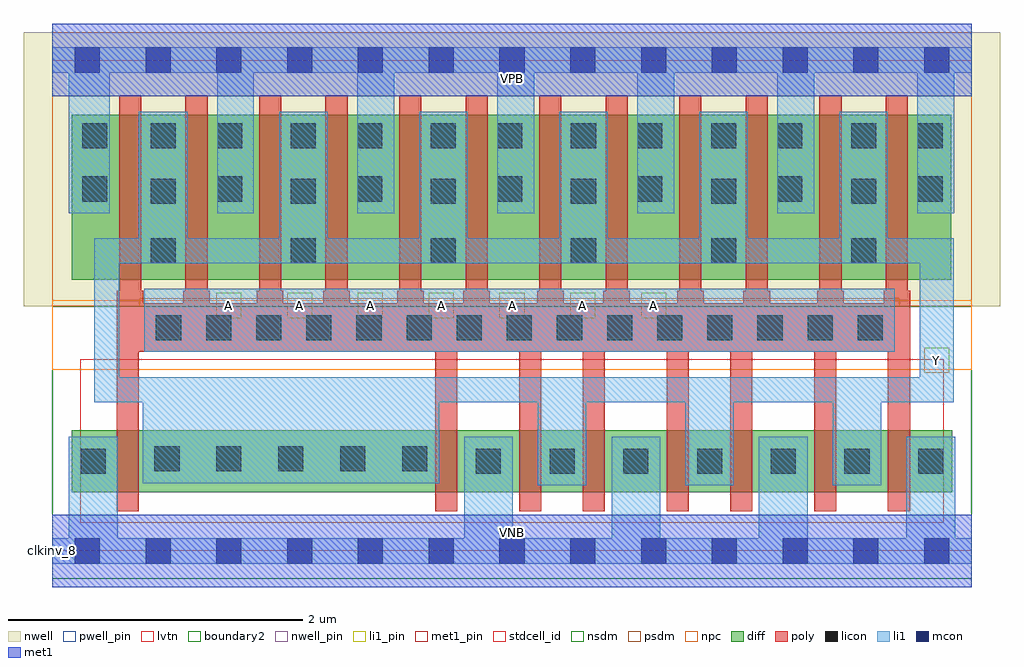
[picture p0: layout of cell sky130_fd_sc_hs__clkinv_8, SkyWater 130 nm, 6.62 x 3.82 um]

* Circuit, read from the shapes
.subckt sky130_fd_sc_hs__clkinv_8 A VGND VNB VPB VPWR Y
XM1 Y A VGND VNB sky130_fd_pr__nfet_01v8_lvt w=0.42 l=0.15 m=8
XM2 Y A VPWR VPB sky130_fd_pr__pfet_01v8 w=1.12 l=0.15 m=12
.ends

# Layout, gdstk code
import gdstk
lib = gdstk.Library(unit=1e-6, precision=1e-09)
def R(c, l, rs):  # rectangles x0, y0, x1, y1
    for r in rs: c.add(gdstk.rectangle(r[:2], r[2:], *l))
def A(c, l, x, y, w, h, nx, ny, dx, dy):  # array of equal rectangles
    R(c, l, [(x+i*dx, y+j*dy, x+i*dx+w, y+j*dy+h) for i in range(nx) for j in range(ny)])
def P(c, l, *ps):  # polygons
    for p in ps: c.add(gdstk.Polygon(p, *l))
nwell_pin = (64, 16)
nwell = (64, 20)
diff = (65, 20)
poly = (66, 20)
licon = (66, 44)
li1_pin = (67, 16)
li1 = (67, 20)
mcon = (67, 44)
met1_pin = (68, 16)
met1 = (68, 20)
stdcell_id = (81, 4)
nsdm = (93, 44)
psdm = (94, 20)
npc = (95, 20)
pwell_pin = (122, 16)
lvtn = (125, 44)
boundary2 = (236, 0)

sky130_fd_sc_hs__clkinv_ = lib.new_cell('sky130_fd_sc_hs__clkinv_8')
R(sky130_fd_sc_hs__clkinv_, nwell_pin, [(0,3.085,6.24,3.33)])
R(sky130_fd_sc_hs__clkinv_, nwell, [(-0.19,1.66,6.43,3.52)])
R(sky130_fd_sc_hs__clkinv_, diff, [(0.135,0.4,6.105,0.82), (0.135,1.84,6.1,2.96)])
P(sky130_fd_sc_hs__clkinv_, poly, [(5.82,1.765),(5.805,1.765),(5.805,3.09),(5.655,3.09),(5.655,1.765),(5.64,1.765),(5.64,1.68),(5.37,1.68),(5.37,1.765),(5.355,1.765),(5.355,3.09),(5.205,3.09),(5.205,1.765),(5.19,1.765),(5.19,1.68),(4.87,1.68),(4.87,1.765),(4.855,1.765),(4.855,3.09),(4.705,3.09),(4.705,1.765),(4.69,1.765),(4.69,1.68),(4.42,1.68),(4.42,1.765),(4.405,1.765),(4.405,3.09),(4.255,3.09),(4.255,1.765),(4.24,1.765),(4.24,1.68),(3.92,1.68),(3.92,1.765),(3.905,1.765),(3.905,3.09),(3.755,3.09),(3.755,1.765),(3.74,1.765),(3.74,1.68),(3.47,1.68),(3.47,1.765),(3.455,1.765),(3.455,3.09),(3.305,3.09),(3.305,1.765),(3.29,1.765),(3.29,1.68),(2.97,1.68),(2.97,1.765),(2.955,1.765),(2.955,3.09),(2.805,3.09),(2.805,1.765),(2.79,1.765),(2.79,1.68),(2.52,1.68),(2.52,1.765),(2.505,1.765),(2.505,3.09),(2.355,3.09),(2.355,1.765),(2.34,1.765),(2.34,1.68),(2.02,1.68),(2.02,1.765),(2.005,1.765),(2.005,3.09),(1.855,3.09),(1.855,1.765),(1.84,1.765),(1.84,1.68),(1.57,1.68),(1.57,1.765),(1.555,1.765),(1.555,3.09),(1.405,3.09),(1.405,1.765),(1.39,1.765),(1.39,1.68),(1.07,1.68),(1.07,1.765),(1.055,1.765),(1.055,3.09),(0.905,3.09),(0.905,1.765),(0.89,1.765),(0.89,1.68),(0.62,1.68),(0.62,1.765),(0.605,1.765),(0.605,3.09),(0.455,3.09),(0.455,1.765),(0.44,1.765),(0.44,0.27),(0.59,0.27),(0.59,1.35),(2.6,1.35),(2.6,0.27),(2.75,0.27),(2.75,1.35),(3.17,1.35),(3.17,0.27),(3.32,0.27),(3.32,1.35),(3.6,1.35),(3.6,0.27),(3.75,0.27),(3.75,1.35),(4.17,1.35),(4.17,0.27),(4.32,0.27),(4.32,1.35),(4.6,1.35),(4.6,0.27),(4.75,0.27),(4.75,1.35),(5.17,1.35),(5.17,0.27),(5.32,0.27),(5.32,1.35),(5.67,1.35),(5.67,0.27),(5.82,0.27)])
A(sky130_fd_sc_hs__clkinv_, licon, 2.875, 0.525, 0.17, 0.17, 7, 1, 0.5, 0)
A(sky130_fd_sc_hs__clkinv_, licon, 0.695, 0.54, 0.17, 0.17, 5, 1, 0.42, 0)
A(sky130_fd_sc_hs__clkinv_, licon, 0.705, 1.43, 0.17, 0.17, 15, 1, 0.34, 0)
A(sky130_fd_sc_hs__clkinv_, licon, 0.67, 1.95, 0.17, 0.17, 6, 2, 0.95, 0.405)
A(sky130_fd_sc_hs__clkinv_, licon, 1.12, 2.37, 0.17, 0.17, 6, 1, 0.95, 0)
R(sky130_fd_sc_hs__clkinv_, licon, [(0.195,0.525,0.365,0.695), (0.205,2.37,0.375,2.54), (0.205,2.73,0.375,2.9), (0.67,2.73,0.84,2.9), (1.12,2.73,1.29,2.9), (1.62,2.73,1.79,2.9), (2.07,2.73,2.24,2.9), (2.57,2.73,2.74,2.9), (3.02,2.73,3.19,2.9), (3.52,2.73,3.69,2.9), (3.97,2.73,4.14,2.9), (4.47,2.73,4.64,2.9), (4.92,2.73,5.09,2.9), (5.42,2.73,5.59,2.9), (5.87,2.73,6.04,2.9)])
A(sky130_fd_sc_hs__clkinv_, li1_pin, 1.115, 1.58, 0.17, 0.17, 7, 1, 0.48, 0)
R(sky130_fd_sc_hs__clkinv_, li1_pin, [(5.915,1.21,6.085,1.38)])
R(sky130_fd_sc_hs__clkinv_, li1, [(0.625,1.35,5.715,1.78)])
P(sky130_fd_sc_hs__clkinv_, li1, [(0,3.245),(0,3.415),(6.24,3.415),(6.24,3.245),(6.12,3.245),(6.12,2.29),(5.87,2.29),(5.87,3.245),(5.17,3.245),(5.17,2.29),(4.92,2.29),(4.92,3.245),(4.22,3.245),(4.22,2.29),(3.97,2.29),(3.97,3.245),(3.27,3.245),(3.27,2.29),(3.02,2.29),(3.02,3.245),(2.32,3.245),(2.32,2.29),(2.07,2.29),(2.07,3.245),(1.37,3.245),(1.37,2.29),(1.12,2.29),(1.12,3.245),(0.39,3.245),(0.39,2.29),(0.115,2.29),(0.115,3.245)],
  [(0,-0.085),(0,0.085),(0.115,0.085),(0.115,0.775),(0.445,0.775),(0.445,0.085),(2.795,0.085),(2.795,0.775),(3.125,0.775),(3.125,0.085),(3.795,0.085),(3.795,0.775),(4.125,0.775),(4.125,0.085),(4.795,0.085),(4.795,0.775),(5.125,0.775),(5.125,0.085),(5.795,0.085),(5.795,0.775),(6.125,0.775),(6.125,0.085),(6.24,0.085),(6.24,-0.085)],
  [(0.455,1.01),(0.285,1.01),(0.285,2.12),(0.59,2.12),(0.59,2.98),(0.92,2.98),(0.92,2.12),(1.54,2.12),(1.54,2.98),(1.87,2.98),(1.87,2.12),(2.49,2.12),(2.49,2.98),(2.82,2.98),(2.82,2.12),(3.44,2.12),(3.44,2.98),(3.77,2.98),(3.77,2.12),(4.39,2.12),(4.39,2.98),(4.72,2.98),(4.72,2.12),(5.34,2.12),(5.34,2.98),(5.67,2.98),(5.67,2.12),(6.115,2.12),(6.115,1.01),(5.625,1.01),(5.625,0.445),(5.295,0.445),(5.295,1.01),(4.625,1.01),(4.625,0.445),(4.295,0.445),(4.295,1.01),(3.625,1.01),(3.625,0.445),(3.295,0.445),(3.295,1.01),(2.625,1.01),(2.625,0.46),(0.615,0.46),(0.615,1.01),(0.455,1.01),(0.455,1.18),(5.885,1.18),(5.885,1.95),(0.455,1.95)])
A(sky130_fd_sc_hs__clkinv_, mcon, 0.155, -0.085, 0.17, 0.17, 13, 2, 0.48, 3.33)
R(sky130_fd_sc_hs__clkinv_, met1_pin, [(0,0,6.24,0.245), (0,3.085,6.24,3.33)])
R(sky130_fd_sc_hs__clkinv_, met1, [(0,-0.245,6.24,0.245), (0,3.085,6.24,3.575)])
R(sky130_fd_sc_hs__clkinv_, stdcell_id, [(0,0,6.24,3.33)])
R(sky130_fd_sc_hs__clkinv_, nsdm, [(0,-0.19,6.24,1.66)])
P(sky130_fd_sc_hs__clkinv_, psdm, [(6.24,3.52),(0,3.52),(0,1.66),(0.595,1.66),(0.595,1.71),(5.745,1.71),(5.745,1.66),(6.24,1.66)])
R(sky130_fd_sc_hs__clkinv_, npc, [(0,1.23,6.24,1.7)])
R(sky130_fd_sc_hs__clkinv_, pwell_pin, [(0,0,6.24,0.245)])
R(sky130_fd_sc_hs__clkinv_, lvtn, [(0.19,0.19,6.05,1.3)])
R(sky130_fd_sc_hs__clkinv_, boundary2, [(0,0,6.24,3.33)])
sky130_fd_sc_hs__clkinv_.add(gdstk.Label('clkinv_8', (0,0), layer=83, texttype=44))
sky130_fd_sc_hs__clkinv_.add(gdstk.Label('VNB', (3.12,0.123), layer=64, texttype=59))
sky130_fd_sc_hs__clkinv_.add(gdstk.Label('VPB', (3.12,3.208), layer=64, texttype=5))
sky130_fd_sc_hs__clkinv_.add(gdstk.Label('VPWR', (3.12,3.208), layer=68, texttype=5))
sky130_fd_sc_hs__clkinv_.add(gdstk.Label('VGND', (3.12,0.123), layer=68, texttype=5))
sky130_fd_sc_hs__clkinv_.add(gdstk.Label('A', (1.2,1.665), layer=67, texttype=5))
sky130_fd_sc_hs__clkinv_.add(gdstk.Label('A', (1.68,1.665), layer=67, texttype=5))
sky130_fd_sc_hs__clkinv_.add(gdstk.Label('A', (2.16,1.665), layer=67, texttype=5))
sky130_fd_sc_hs__clkinv_.add(gdstk.Label('A', (2.64,1.665), layer=67, texttype=5))
sky130_fd_sc_hs__clkinv_.add(gdstk.Label('A', (3.12,1.665), layer=67, texttype=5))
sky130_fd_sc_hs__clkinv_.add(gdstk.Label('A', (3.6,1.665), layer=67, texttype=5))
sky130_fd_sc_hs__clkinv_.add(gdstk.Label('A', (4.08,1.665), layer=67, texttype=5))
sky130_fd_sc_hs__clkinv_.add(gdstk.Label('Y', (6,1.295), layer=67, texttype=5))

lib.write_gds('sky130_fd_sc_hs__clkinv_8.gds')
